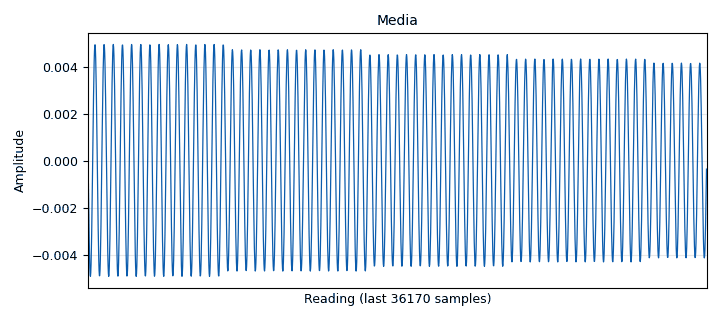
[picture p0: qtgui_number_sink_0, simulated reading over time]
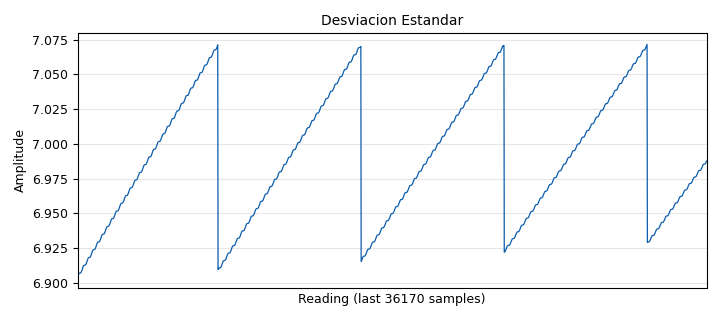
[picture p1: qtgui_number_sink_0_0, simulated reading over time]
options:
  parameters:
    generate_options: qt_gui
    id: Estadistica
    output_language: python
    title: Not titled yet
  states: {}

blocks:
- name: samp_rate
  id: variable
  parameters:
    value: '32000'
  states: {}
- name: analog_sig_source_x_0
  id: analog_sig_source_x
  parameters:
    amp: '10'
    freq: '60'
    offset: '0'
    phase: '0'
    samp_rate: samp_rate
    type: float
    waveform: analog.GR_COS_WAVE
  states: {}
- name: epy_block_0
  id: epy_block
  parameters:
    _source_code: "import numpy as np\nfrom gnuradio import gr\n\nclass blk(gr.sync_block):\n    def __init__(self):\n        gr.sync_block.__init__(\n            self,\n            name=\"Promedios_de_tiempo\",\n            in_sig=[np.float32],\n            out_sig=[np.float32, np.float32, np.float32, np.float32, np.float32]\n        )\n        self.acum_anterior = 0\n        self.Ntotales = 0\n        self.acum_anterior1 = 0\n        self.acum_anterior2 = 0\n\n    def work(self, input_items, output_items):\n        x = input_items[0]\n        # Salidas\n        y0 = output_items[0]  # Promedio de la señal\n        y1 = output_items[1]  # Media cuadrática de la señal\n        y2 = output_items[2]  # RMS de la señal\n        y3 = output_items[3]  # Potencia promedio de la señal\n        y4 = output_items[4]  # Desviación estándar de la señal\n\n        # Calculo del promedio\n        N = len(x)\n        self.Ntotales += N\n        acumulado = self.acum_anterior + np.cumsum(x)\n        self.acum_anterior = acumulado[-1]\n        y0[:] = acumulado / self.Ntotales\n\n        # Calculo de la media cuadrática\n        x2 = np.multiply(x, x)\n        acumulado1 = self.acum_anterior1 + np.cumsum(x2)\n        self.acum_anterior1 = acumulado1[-1]\n        y1[:] = acumulado1 / self.Ntotales\n\n        # Calculo de la RMS\n        y2[:] = np.sqrt(y1)\n\n        # Calculo de la potencia promedio\n        y3[:] = np.multiply(y2, y2)\n\n        # Calculo de la desviación estándar\n        x3 = np.multiply(x - y0, x - y0)\n        acumulado2 = self.acum_anterior2 + np.cumsum(x3)\n        self.acum_anterior2 = acumulado2[-1]\n        y4[:] = np.sqrt(acumulado2 / self.Ntotales)\n\n        return len(x)\n\n"
  states: {}
- name: qtgui_number_sink_0
  id: qtgui_number_sink
  parameters:
    graph_type: qtgui.NUM_GRAPH_HORIZ
    name: '"Media"'
    type: float
  states: {}
- name: qtgui_number_sink_0_0
  id: qtgui_number_sink
  parameters:
    graph_type: qtgui.NUM_GRAPH_HORIZ
    name: '"Desviacion Estandar"'
    type: float
  states: {}
- name: qtgui_number_sink_0_1
  id: qtgui_number_sink
  parameters:
    graph_type: qtgui.NUM_GRAPH_HORIZ
    name: '"Potencia promedio"'
    type: float
  states: {}
- name: qtgui_number_sink_0_2
  id: qtgui_number_sink
  parameters:
    graph_type: qtgui.NUM_GRAPH_HORIZ
    name: '"Media cuadratica"'
    type: float
  states: {}
- name: qtgui_number_sink_0_3
  id: qtgui_number_sink
  parameters:
    graph_type: qtgui.NUM_GRAPH_HORIZ
    name: '"Rms"'
    type: float
  states: {}

connections:
- [analog_sig_source_x_0, '0', epy_block_0, '0']
- [epy_block_0, '0', qtgui_number_sink_0, '0']
- [epy_block_0, '1', qtgui_number_sink_0_2, '0']
- [epy_block_0, '2', qtgui_number_sink_0_3, '0']
- [epy_block_0, '3', qtgui_number_sink_0_1, '0']
- [epy_block_0, '4', qtgui_number_sink_0_0, '0']

metadata:
  file_format: 1
  grc_version: v3.11.0.0git-810-g1ecb8565
